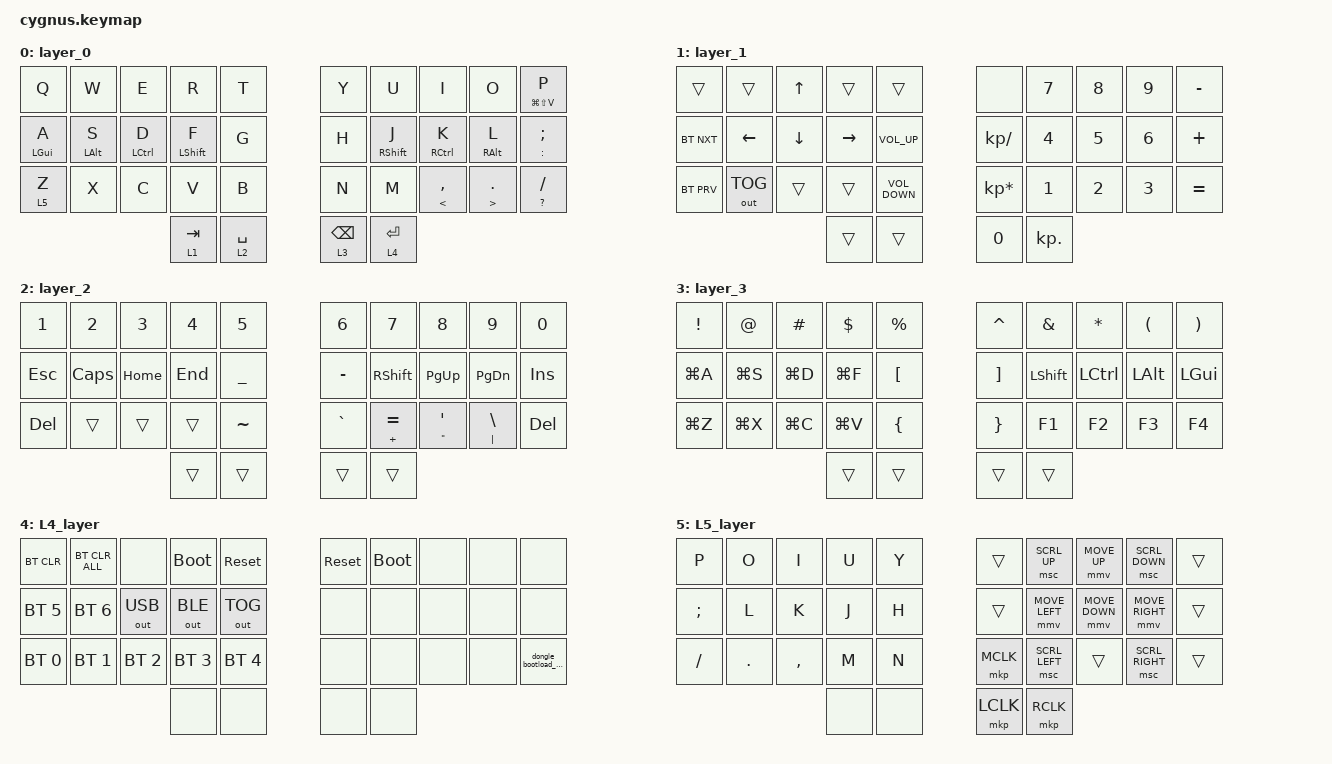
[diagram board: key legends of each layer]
// butterfly36.keymap

#include <behaviors/mouse_keys.dtsi>
#include <behaviors.dtsi>
#include <dt-bindings/zmk/bt.h>
#include <dt-bindings/zmk/keys.h>
#include <dt-bindings/zmk/mouse.h>
#include <dt-bindings/zmk/outputs.h>

&mt {
    flavor = "hold-preferred";
    tapping-term-ms = <175>;
    quick-tap-ms = <175>;

    // retro-tap;
};

&lt {
    flavor = "hold-preferred";
    tapping-term-ms = <175>;
    quick-tap-ms = <175>;

    // retro-tap;
};

/ {
    macros {
        dongle_bootload_macro: bootload_macro {
            compatible = "zmk,behavior-macro";
            #binding-cells = <0>;
            bindings = <&bootloader>;
            label = "BOOTLOAD_MACRO";
        };
    };

    behaviors {
        hm: homerow_mods {
            compatible = "zmk,behavior-hold-tap";
            label = "HOMEROW_MODS";
            #binding-cells = <2>;
            tapping-term-ms = <200>;
            quick_tap_ms = <0>;
            flavor = "tap-preferred";
            bindings = <&kp>, <&kp>;

            quick-tap-ms = <180>;
            global-quick-tap;
        };

        as: as {
            compatible = "zmk,behavior-hold-tap";
            label = "AUTO_SHIFT";
            bindings = <&kp>, <&kp>;

            #binding-cells = <2>;
            tapping-term-ms = <135>;
            quick-tap-ms = <0>;
            flavor = "tap-preferred";
        };

        bmt: balanced_mod_tap {
            compatible = "zmk,behavior-hold-tap";
            #binding-cells = <2>;
            flavor = "balanced";
            tapping-term-ms = <200>;    // <---[[moderate duration]]
            quick-tap-ms = <200>;
            bindings = <&kp>, <&kp>;
        };

        blt: balanced_layer_tap {
            compatible = "zmk,behavior-hold-tap";
            #binding-cells = <2>;
            flavor = "balanced";
            tapping-term-ms = <200>;    // <---[[moderate duration]]
            quick-tap-ms = <200>;
            bindings = <&mo>, <&kp>;
        };

        tmt: tap_preferred_mod_tap {
            compatible = "zmk,behavior-hold-tap";
            #binding-cells = <2>;
            flavor = "tap-preferred";

            //retro-tap;

            tapping-term-ms = <175>;    // <---[[moderate duration]]
            quick-tap-ms = <175>;
            require-prior-idle-ms = <125>;
            bindings = <&kp>, <&kp>;
        };

        tlt: tap_preferred_layer_tap {
            compatible = "zmk,behavior-hold-tap";
            #binding-cells = <2>;
            flavor = "tap-preferred";

            //retro-tap;

            tapping-term-ms = <175>;    // <---[[moderate duration]]
            quick-tap-ms = <175>;
            require-prior-idle-ms = <125>;
            bindings = <&mo>, <&kp>;
        };
    };

    keymap {
        compatible = "zmk,keymap";

        layer_0 {
            bindings = <
&kp Q             &kp W                       &kp E                      &kp R             &kp T             &kp Y           &kp U              &kp I                &kp O                    &hm LG(LS(V)) P
&hm LEFT_GUI A    &hm LEFT_ALT S              &hm LCTRL D                &hm LEFT_SHIFT F  &kp G             &kp H           &hm RIGHT_SHIFT J  &hm RCTRL K          &hm RIGHT_ALT L          &as COLON SEMICOLON
&tlt 5 Z          &kp X                       &kp C                      &kp V             &kp B             &kp N           &kp M              &as LESS_THAN COMMA  &as GREATER_THAN PERIOD  &as QUESTION SLASH
                                  &tlt 1 TAB               &tlt 2 SPACE                    &tlt 3 BACKSPACE  &tlt 4 ENTER
            >;
        };

        layer_1 {
            bindings = <
&trans        &trans                &kp UP            &trans     &trans                  &none                   &kp N7    &kp N8  &kp N9    &kp MINUS
&bt BT_NXT    &kp LEFT              &kp DOWN          &kp RIGHT  &kp C_VOLUME_UP         &kp KP_SLASH            &kp N4    &kp N5  &kp N6    &kp PLUS
&bt BT_PRV    &out OUT_TOG          &trans            &trans     &kp C_VOLUME_DOWN       &kp KP_ASTERISK         &kp N1    &kp N2  &kp N3    &kp EQUAL
                                                      &trans     &trans                  &kp N0    &kp KP_DOT 
            >;
        };

        layer_2 {
            bindings = <
&kp NUMBER_1    &kp NUMBER_2          &kp NUMBER_3          &kp NUMBER_4  &kp NUMBER_5  &kp NUMBER_6    &kp NUMBER_7     &kp NUMBER_8                    &kp NUMBER_9        &kp NUMBER_0
&kp ESCAPE      &kp CAPSLOCK          &kp HOME              &kp END       &kp UNDER     &kp MINUS       &kp RIGHT_SHIFT  &kp PAGE_UP                     &kp PAGE_DOWN       &kp INSERT
&kp DELETE      &trans                &trans                &trans        &kp TILDE     &kp GRAVE       &as PLUS EQUAL   &as DOUBLE_QUOTES SINGLE_QUOTE  &as PIPE BACKSLASH  &kp DEL
                                                            &trans        &trans        &trans          &trans
            >;
        };

        layer_3 {
            bindings = <
&kp EXCLAMATION    &kp AT_SIGN          &kp HASH           &kp DOLLAR  &kp PERCENT       &kp CARET            &kp AMPERSAND   &kp STAR          &kp LEFT_PARENTHESIS  &kp RIGHT_PARENTHESIS
&kp LG(A)          &kp LG(S)            &kp LG(D)          &kp LG(F)   &kp LEFT_BRACKET  &kp RIGHT_BRACKET    &kp LEFT_SHIFT  &kp LEFT_CONTROL  &kp LEFT_ALT          &kp LEFT_GUI
&kp LG(Z)          &kp LG(X)            &kp LG(C)          &kp LG(V)   &kp LEFT_BRACE    &kp RIGHT_BRACE      &kp F1          &kp F2            &kp F3                &kp F4
                                                           &trans      &trans            &trans               &trans
            >;
        };

        L4_layer {
            // -----------------------------------------------------------------------------------------
            // |BTCLR|     |     | BOOT|RESET|   |RESET| BOOT|     |     |     |
            // |     |     |     |     | OUT |   |     |     |     |     |     |
            // | BT1 | BT2 | BT3 | BT4 | BT5 |   |     |     |     |     |     |
            //             |     |     |     |   |     |     |     |

            bindings = <
&bt BT_CLR      &bt BT_CLR_ALL       &none                &bootloader         &sys_reset    &sys_reset    &bootloader  &none  &none  &none
&bt BT_SEL 5      &bt BT_SEL 6       &out OUT_USB         &out OUT_BLE        &out OUT_TOG  &none         &none        &none  &none  &none
&bt BT_SEL 0    &bt BT_SEL 1         &bt BT_SEL 2         &bt BT_SEL 3        &bt BT_SEL 4  &none         &none        &none  &none  &dongle_bootload_macro
                                                          &none               &none         &none         &none
            >;
        };

        L5_layer {
            bindings = <
&kp P       &kp O           &kp I             &kp U  &kp Y      &trans       &msc SCRL_UP    &mmv MOVE_UP    &msc SCRL_DOWN   &trans
&kp SEMI    &kp L           &kp K             &kp J  &kp H      &trans       &mmv MOVE_LEFT  &mmv MOVE_DOWN  &mmv MOVE_RIGHT  &trans
&kp FSLH    &kp DOT         &kp COMMA         &kp M  &kp N      &mkp MCLK    &msc SCRL_LEFT  &trans          &msc SCRL_RIGHT  &trans
                                              &none             &none        &mkp LCLK       &mkp RCLK
            >;
        };
    };
};
